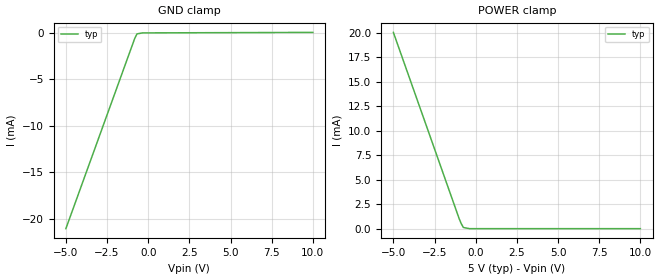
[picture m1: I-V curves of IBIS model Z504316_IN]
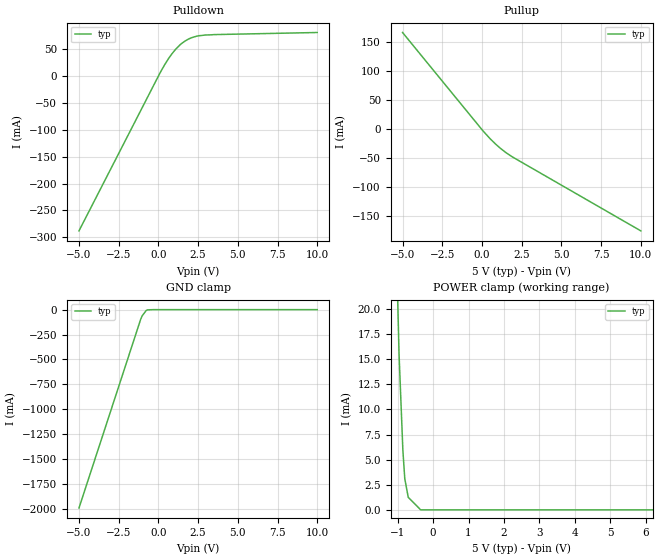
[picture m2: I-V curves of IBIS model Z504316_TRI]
| YOU ARE ONLY AUTHORIZED TO USE THIS SOFTWARE
| ACCORDING TO LICENSOR'S LICENSE RESTRICTIONS.
[IBIS Ver] 3.1
[File Name] mc74hct374adw.ibs
[File Rev] 2.0
[Source] Measured and created by ICX Technology
[Date] Friday 7/14/00 9:08:11 AM
[Copyright]
| (C) COPYRIGHT 1993-2000
| MENTOR GRAPHICS CORPORATION
| ICX STANDARD LIBRARY, ICX PROJECT MODELING,
| ICX CUSTOM MODELING, ICX VENDOR MODEL
| ALL RIGHTS RESERVED.
| THE FOLLOWING ARE TRADEMARKS OR SERVICE MARKS OF
| MENTOR GRAPHICS CORPORATION:ICX (R), ICX STANDARD
| LIBRARY(R), ICX PROJECT MODELING(R), ICX CUSTOM
| MODELING(R), qualityIBIS(TM), MODELVIEWER(TM),
| AND MODELEDITOR(TM)
| ALL COPIES OF SOFTWARE, INCLUDING BUT NOT LIMITED TO
| ANY MODIFICATIONS, ENHANCEMENTS OR DERIVATIVE WORKS,
| MUST CONTAIN ALL MENTOR GRAPHICS CORPORATION'S
| NOTICES AND LEGENDS, INCLUDING THOSE EMBEDDED IN
| SOFTWARE AND THOSE AFFIXED TO SOFTWARE MEDIUM
| AND CONTAINER, AS RECEIVED FROM MENTOR GRAPHICS
| CORPORATION.
|  ZAP Model Builder 2.7
[Component] MC74HCT374ADW
[Manufacturer] OnSemiconductor
[Package]
| variable   typ   min   max
R_pkg  .216ohms NA NA
L_pkg  5.76nH NA NA
C_pkg  2.193pF NA NA
[Pin] signal_name  model_name  R_pin  L_pin C_pin
1 _G Z504316_IN .232 9.76n 3.179p
2 Q0 Z504316_TRI .224 7.26n 2.686p
3 D0 Z504316_IN .216 5.26n 2.193p
4 D1 Z504316_IN .208 3.76n 1.7p
5 Q1 Z504316_TRI .2 2.76n 1.207p
6 Q2 Z504316_TRI .2 2.76n 1.207p
7 D2 Z504316_IN .208 3.76n 1.7p
8 D3 Z504316_IN .216 5.26n 2.193p
9 Q3 Z504316_TRI .224 7.26n 2.686p
10 GND GND .232 9.76n 3.179p
11 CLK Z504316_IN .232 9.76n 3.179p
12 Q4 Z504316_TRI .224 7.26n 2.686p
13 D4 Z504316_IN .216 5.26n 2.193p
14 D5 Z504316_IN .208 3.76n 1.7p
15 Q5 Z504316_TRI .2 2.76n 1.207p
16 Q6 Z504316_TRI .2 2.76n 1.207p
17 D6 Z504316_IN .208 3.76n 1.7p
18 D7 Z504316_IN .216 5.26n 2.193p
19 Q7 Z504316_TRI .224 7.26n 2.686p
20 VCC POWER .232 9.76n 3.179p
| Models and submodels in the file (2): Z504316_IN (Input), Z504316_TRI (3-state)
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| (C) COPYRIGHT 1993-2000
| MENTOR GRAPHICS CORPORATION
| ICX STANDARD LIBRARY, ICX PROJECT MODELING,
| ICX CUSTOM MODELING, ICX VENDOR MODEL
| ALL RIGHTS RESERVED.
| THE FOLLOWING ARE TRADEMARKS OR SERVICE MARKS OF
| MENTOR GRAPHICS CORPORATION:ICX (R), ICX STANDARD
| LIBRARY(R), ICX PROJECT MODELING(R), ICX CUSTOM
| MODELING(R), qualityIBIS(TM), MODELVIEWER(TM),
| AND MODELEDITOR(TM)
| ALL COPIES OF SOFTWARE, INCLUDING BUT NOT LIMITED TO
| ANY MODIFICATIONS, ENHANCEMENTS OR DERIVATIVE WORKS,
| MUST CONTAIN ALL MENTOR GRAPHICS CORPORATION'S
| NOTICES AND LEGENDS, INCLUDING THOSE EMBEDDED IN
| SOFTWARE AND THOSE AFFIXED TO SOFTWARE MEDIUM
| AND CONTAINER, AS RECEIVED FROM MENTOR GRAPHICS
| CORPORATION.
| Model Application Version 1.89 2/18/99.
[Model] Z504316_IN
Model_type Input
Vinl = 800.0mV
Vinh = 2.000V
C_comp 4.000pF NA NA
| variable typ   min   max
[Voltage Range] 5.000V NA NA
[GND Clamp Reference] 0.000V NA NA
[POWER Clamp Reference] 5.000V NA NA
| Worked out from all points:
|   POWER clamp passes 1 mA (typ) near -1.00 V on its own axis
[GND Clamp]
-5V       -21.05mA   NA         NA
-820.3mV  -628.8uA   NA         NA
-683.6mV  -131.3uA   NA         NA
-341.8mV  -22.61uA   NA         NA
10V       30.5uA     NA         NA
[POWER Clamp]
-5V       20.02mA    NA         NA
-1.001V   1.004mA    NA         NA
-884mV    529.9uA    NA         NA
-747mV    117.1uA    NA         NA
-373.5mV  0A         NA         NA
10V       0A         NA         NA
| (C) COPYRIGHT 1993-2000
| MENTOR GRAPHICS CORPORATION
| ICX STANDARD LIBRARY, ICX PROJECT MODELING,
| ICX CUSTOM MODELING, ICX VENDOR MODEL
| ALL RIGHTS RESERVED.
| THE FOLLOWING ARE TRADEMARKS OR SERVICE MARKS OF
| MENTOR GRAPHICS CORPORATION:ICX (R), ICX STANDARD
| LIBRARY(R), ICX PROJECT MODELING(R), ICX CUSTOM
| MODELING(R), qualityIBIS(TM), MODELVIEWER(TM),
| AND MODELEDITOR(TM)
| ALL COPIES OF SOFTWARE, INCLUDING BUT NOT LIMITED TO
| ANY MODIFICATIONS, ENHANCEMENTS OR DERIVATIVE WORKS,
| MUST CONTAIN ALL MENTOR GRAPHICS CORPORATION'S
| NOTICES AND LEGENDS, INCLUDING THOSE EMBEDDED IN
| SOFTWARE AND THOSE AFFIXED TO SOFTWARE MEDIUM
| AND CONTAINER, AS RECEIVED FROM MENTOR GRAPHICS
| CORPORATION.
| Model Application Version 1.89 2/18/99.
[Model] Z504316_TRI
Model_type 3-state
Vref=0.000V
Rref=500.0Mohms
Cref=50.00pF
Vmeas=1.300V
C_comp 8.000pF NA NA
| variable typ   min   max
[Voltage Range] 5.000V NA NA
[POWER Clamp Reference] 5.000V NA NA
[Pullup Reference] 5.000V NA NA
[Pulldown Reference] 0.000V NA NA
[GND Clamp Reference] 0.000V NA NA
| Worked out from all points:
|   slope of the pulldown table from 0 to 0.75 V, typ, clamps not added: 20.1 ohm
|   slope of the pullup table from 0 to 0.75 V, typ, clamps not added: 34.1 ohm
[GND Clamp]
-5V       -1.994A    NA         NA
-1.113V   -95.77mA   NA         NA
-1.019V   -61.69mA   NA         NA
-770.9mV  -9.052mA   NA         NA
-683.8mV  -2.268mA   NA         NA
-341.9mV  0A         NA         NA
10V       0A         NA         NA
[Pulldown]
-5V       -287.9mA   NA         NA
101.7mV   5.817mA    NA         NA
405.3mV   21.62mA    NA         NA
840.2mV   40.98mA    NA         NA
1.363V    58.18mA    NA         NA
1.69V     65.4mA     NA         NA
2.122V    71.7mA     NA         NA
2.979V    76.46mA    NA         NA
10V       81.06mA    NA         NA
[Pullup]
-5V       166.5mA    NA         NA
41mV      -2.446mA   NA         NA
508mV     -16.59mA   NA         NA
854mV     -25.88mA   NA         NA
1.167V    -33.43mA   NA         NA
1.538V    -41.29mA   NA         NA
1.886V    -47.67mA   NA         NA
10V       -175.7mA   NA         NA
[POWER Clamp]
-5V       737.6mA    NA         NA
-1.045V   26.9mA     NA         NA
-962mV    15.47mA    NA         NA
-854mV    5.903mA    NA         NA
-801mV    3.11mA     NA         NA
-703mV    1.245mA    NA         NA
-351.5mV  0A         NA         NA
10V       0A         NA         NA
[Ramp]
| variable typ min max
dV/dt_r 2.836/800.0p NA NA
dV/dt_f 2.836/723.0p NA NA
R_load = 500.0Ohms
